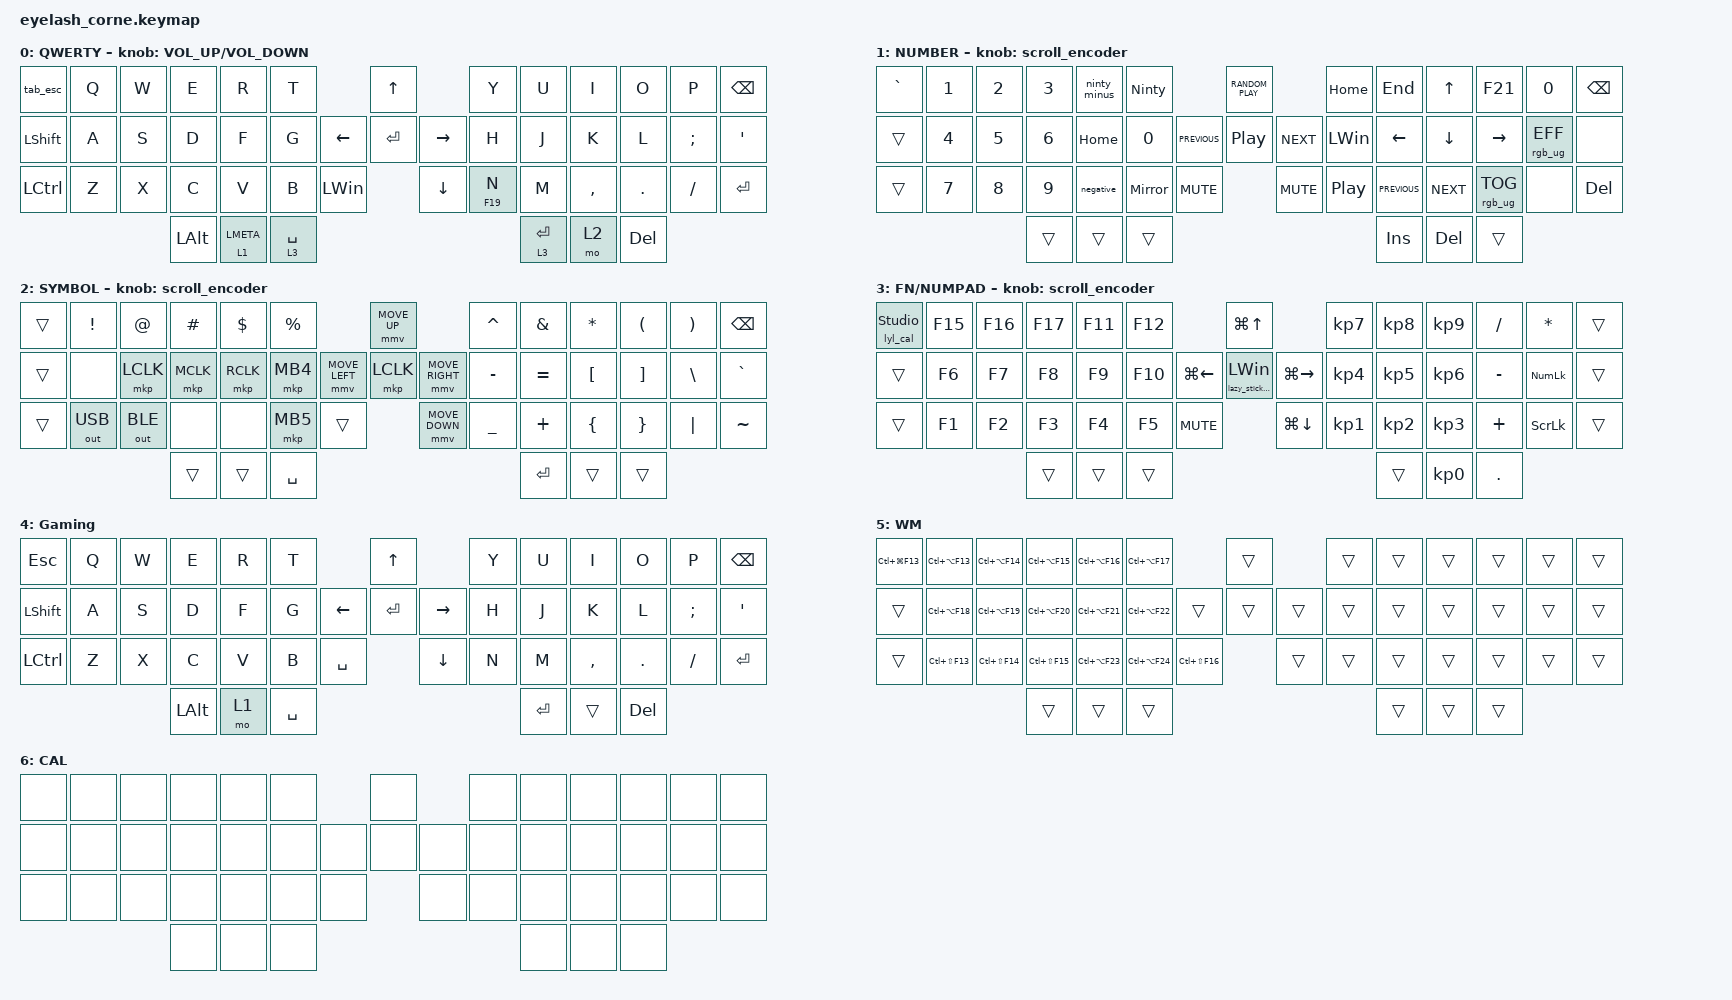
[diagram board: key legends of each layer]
#define ZMK_POINTING_DEFAULT_MOVE_VAL 1200  // 600
#define ZMK_POINTING_DEFAULT_SCRL_VAL 25   // 10

#include <input/processors.dtsi>
#include <zephyr/dt-bindings/input/input-event-codes.h>
#include <behaviors.dtsi>
#include <dt-bindings/zmk/keys.h>
#include <dt-bindings/zmk/outputs.h>
#include <dt-bindings/zmk/pointing.h>
#include <dt-bindings/zmk/rgb.h>

// Binding that starts layer-light calibration.
#define LYL_CALIBRATE 0 0xF0000000

&mmv_input_listener { input-processors = <&zip_xy_scaler 2 1>; };

&msc_input_listener { input-processors = <&zip_scroll_scaler 2 1>; };

&msc {
    acceleration-exponent = <1>;      // 0
    time-to-max-speed-ms = <100>;       // 300
    delay-ms = <0>;                   // 0
};

&mmv {
    time-to-max-speed-ms = <500>;
    acceleration-exponent = <1>;
    trigger-period-ms = <16>;
};

/ {
    behaviors {
        // Layer lights: while one of these layers is active, the LEDs under
        // the keys that do something on it light up in its color. Layers are
        // counted from 0 in the order they appear below. Code: src/layer_lights.c
        lyl: lyl {
            compatible = "zmk,behavior-layer-lights";
            #binding-cells = <2>;
            layers = <1 2 3 5>;                            // NUMBER SYMBOL FN WM
            colors = <0xff7a33 0x5b47d6 0x8bd450 0xff2bd6>; // orange purple green pink
            calibration-layer = <6>;
        };

        // Top-left key on the FN layer: tap for Studio unlock, hold it for a
        // full 1.5 seconds to start layer-light calibration.
        cal_hold: cal_hold {
            compatible = "zmk,behavior-hold-tap";
            #binding-cells = <2>;
            flavor = "tap-preferred";
            tapping-term-ms = <1500>;
            bindings = <&lyl_cal>, <&studio_unlock>;
        };

        // Left thumb layer keys (Win/NUMBER and Space/FN). "balanced" means: if
        // you press and release another key while the thumb is down, it counts
        // as holding the layer, however quick you are. The stock &lt waited a
        // full 200 ms, so fast shortcuts came out as a Win or Space tap.
        // require-prior-idle-ms keeps fast typing safe: right after another
        // key, the thumb always taps. quick-tap-ms lets you tap then hold to
        // repeat a space.
        lt_thumb: lt_thumb {
            compatible = "zmk,behavior-hold-tap";
            #binding-cells = <2>;
            flavor = "balanced";
            tapping-term-ms = <200>;
            quick-tap-ms = <175>;
            require-prior-idle-ms = <125>;
            bindings = <&mo>, <&kp>;
        };

        // Win/NUMBER thumb: counts as holding the layer the moment any other
        // key goes down, however fast and in whatever order you let go, so
        // muscle-memory shortcuts like -90 never send a stray Win. Tapped on
        // its own it is still Win.
        lt_win: lt_win {
            compatible = "zmk,behavior-hold-tap";
            #binding-cells = <2>;
            flavor = "hold-preferred";
            tapping-term-ms = <200>;
            bindings = <&mo>, <&kp>;
        };

        // N: tap for n, hold for ñ. An English layout has no key for ñ, so
        // holding N sends F19 and AutoHotkey (CombinedScript.ahk) types the ñ
        // (Ñ with Shift). "tap-preferred": it only counts as held once you keep
        // it down past tapping-term, so fast typing (dinner, running) never
        // misfires. quick-tap-ms: tap then hold N to repeat n as usual.
        n_tilde: n_tilde {
            compatible = "zmk,behavior-hold-tap";
            #binding-cells = <2>;
            display-name = "N / hold for ñ";
            flavor = "tap-preferred";
            tapping-term-ms = <250>;
            quick-tap-ms = <200>;
            bindings = <&kp>, <&kp>;
        };

        T_Y: td0 {
            compatible = "zmk,behavior-tap-dance";
            display-name = "Shift/Caps Lock Tap Dance";
            #binding-cells = <0>;
            bindings = <&kp T>, <&kp Y>;
        };

        tab_esc: tab_esc {
            compatible = "zmk,behavior-tap-dance";
            display-name = "Shift/Caps Lock Tap Dance";
            #binding-cells = <0>;
            bindings = <&kp TAB>, <&kp ESCAPE>;

            label = "TAB_ESC";
        };

        lazy_stickykey: lazy_stickykey {
            compatible = "zmk,behavior-sticky-key";
            label = "LAZY_STICKYKEY";
            bindings = <&kp>;
            #binding-cells = <1>;
            lazy;
            release-after-ms = <100>;
        };
    };

    rgb_encoder: rgb_encoder {
        compatible = "zmk,behavior-sensor-rotate";
        #sensor-binding-cells = <0>;
        bindings = <&rgb_ug RGB_BRI>, <&rgb_ug RGB_BRD>;
    };

    scroll_encoder: scroll_encoder {
        compatible = "zmk,behavior-sensor-rotate";
        #sensor-binding-cells = <0>;
        bindings = <&msc SCRL_DOWN>, <&msc SCRL_UP>;

        tap-ms = <100>;
    };

    combos {
        compatible = "zmk,combos";

        Backspace {
            bindings = <&kp BACKSPACE>;
            key-positions = <4 5 44>;
        };

        Search {
            bindings = <&kp F3>;
            key-positions = <17 18 44>;
        };

        assetbrowserclear {
            bindings = <&assetbrowser_clear>;
            key-positions = <32 33 44>;
        };

        gaming {
            bindings = <&tog 4>;
            key-positions = <4 5 7 8>;
        };

        winkey {
            bindings = <&kp LEFT_WIN>;
            key-positions = <32 44 43>;
        };

        tabcombo {
            bindings = <&kp LA(TAB)>;
            key-positions = <29 30>;
        };

        // Ctrl+Alt+Delete: Ctrl and Alt are no longer part of this combo, because
        // keys in a combo get held back for a moment, which made Ctrl and Alt
        // shortcuts finicky. Press Tab, Q and Backspace together instead, or
        // hold Ctrl and Alt and press the Del thumb key on the right.
        taskmanager {
            bindings = <&kp LC(LA(DELETE))>;
            key-positions = <0 1 12>;
        };
    };

    macros {
        lyl_cal: lyl_cal {
            compatible = "zmk,behavior-macro";
            #binding-cells = <0>;
            bindings = <&lyl LYL_CALIBRATE>;
        };

        Ninty: Ninty {
            compatible = "zmk,behavior-macro";
            #binding-cells = <0>;
            bindings = <&none &kp N9 &kp N0>;
            label = "NINTY";
        };

        ninty_minus: ninty_minus {
            compatible = "zmk,behavior-macro";
            #binding-cells = <0>;
            bindings = <&none &kp MINUS &kp N9 &kp N0>;
            label = "NINTY_MINUS";
        };

        Mirror: Mirror {
            compatible = "zmk,behavior-macro";
            #binding-cells = <0>;
            bindings = <&kp LC(M)>;
            label = "MIRROR";
        };

        negative: negative {
            compatible = "zmk,behavior-macro";
            #binding-cells = <0>;
            bindings = <&kp END &kp STAR &kp MINUS &kp N1 &kp ENTER>;
            label = "NEGATIVE";
        };

        assetbrowser_clear: assetbrowser_clear {
            compatible = "zmk,behavior-macro";
            #binding-cells = <0>;
            bindings = <&kp LC(F) &kp BACKSPACE>;
            label = "ASSETBROWSER_CLEAR";
        };

        winup: winup {
            compatible = "zmk,behavior-macro";
            #binding-cells = <0>;
            bindings = <&kp LEFT_WIN &kp UP_ARROW>, <&macro_pause_for_release>;

            label = "WINUP";
        };

        winleft: winleft {
            compatible = "zmk,behavior-macro";
            #binding-cells = <0>;
            bindings = <&kp LEFT_WIN &kp LEFT_ARROW>;
            label = "WINLEFT";
        };
    };

    // Holding the Win thumb key (layer 1) and the Space thumb key (layer 3)
    // together turns on the WM layer (layer 5).
    conditional_layers {
        compatible = "zmk,conditional-layers";

        wm_layer {
            if-layers = <1 3>;
            then-layer = <5>;
        };
    };

    keymap {
        compatible = "zmk,keymap";

        default_layer {
            display-name = "QWERTY";
            bindings = <
&tab_esc        &kp Q  &kp W  &kp E         &kp R        &kp T                                  &kp UP                &kp Y        &kp U  &kp I      &kp O    &kp P     &kp BSPC
&kp LEFT_SHIFT  &kp A  &kp S  &kp D         &kp F        &kp G                        &kp LEFT  &kp ENTER  &kp RIGHT  &kp H        &kp J  &kp K      &kp L    &kp SEMI  &kp SQT
&kp LCTRL       &kp Z  &kp X  &kp C         &kp V        &kp B        &kp LEFT_WIN              &kp DOWN              &n_tilde F19 N  &kp M  &kp COMMA  &kp DOT  &kp FSLH  &kp ENTER
                              &kp LEFT_ALT  &lt_win 1 LMETA  &lt_thumb 3 SPACE                                                  &lt 3 ENTER  &mo 2  &kp DEL
            >;

            sensor-bindings = <&inc_dec_kp C_VOLUME_UP C_VOLUME_DOWN>;
        };

        lower_layer {
            display-name = "NUMBER";
            bindings = <
&kp GRAVE  &kp N1        &kp N2  &kp N3        &ninty_minus  &Ninty                                 &kp C_RANDOM_PLAY              &kp HOME          &kp END         &kp UP_ARROW    &kp F21          &kp N0           &kp BSPC
&trans     &kp NUMBER_4  &kp N5  &kp NUMBER_6  &kp HOME      &kp N0                 &kp C_PREVIOUS  &kp C_PLAY_PAUSE   &kp C_NEXT  &kp LEFT_WIN      &kp LEFT        &kp DOWN_ARROW  &kp RIGHT        &rgb_ug RGB_EFF  &none
&trans     &kp N7        &kp N8  &kp N9        &negative     &Mirror  &kp C_MUTE                    &kp K_MUTE                     &kp C_PLAY_PAUSE  &kp K_PREVIOUS  &kp K_NEXT      &rgb_ug RGB_TOG  &none            &kp DEL
                                 &trans        &trans        &trans                                                                &kp INS           &kp DEL         &trans
            >;

            sensor-bindings = <&scroll_encoder>;
        };

        raise_layer {
            display-name = "SYMBOL";
            bindings = <
&trans  &kp EXCL      &kp AT        &kp HASH   &kp DLLR   &kp PRCNT                            &mmv MOVE_UP                     &kp CARET  &kp AMPS   &kp ASTRK  &kp LPAR  &kp RPAR  &kp BSPC
&trans  &none         &mkp LCLK     &mkp MCLK  &mkp RCLK  &mkp MB4             &mmv MOVE_LEFT  &mkp LCLK       &mmv MOVE_RIGHT  &kp MINUS  &kp EQUAL  &kp LBKT   &kp RBKT  &kp BSLH  &kp GRAVE
&trans  &out OUT_USB  &out OUT_BLE  &none      &none      &mkp MB5   &trans                    &mmv MOVE_DOWN                   &kp UNDER  &kp PLUS   &kp LBRC   &kp RBRC  &kp PIPE  &kp TILDE
                                    &trans     &trans     &kp SPACE                                                             &kp RET    &trans     &trans
            >;

            sensor-bindings = <&scroll_encoder>;
        };

        layer_3 {
            display-name = "FN/NUMPAD";
            bindings = <
&cal_hold 0 0      &kp F15  &kp F16  &kp F17  &kp F11  &kp F12                                    &kp LG(UP_ARROW)                               &kp KP_NUMBER_7  &kp KP_NUMBER_8  &kp KP_NUMBER_9  &kp SLASH  &kp ASTERISK    &trans
&trans          &kp F6   &kp F7   &kp F8   &kp F9   &kp F10                &kp LG(LEFT_ARROW)  &lazy_stickykey LEFT_WIN  &kp LG(RIGHT_ARROW)  &kp KP_NUMBER_4  &kp KP_NUMBER_5  &kp KP_NUMBER_6  &kp MINUS  &kp KP_NUMLOCK  &trans
&trans          &kp F1   &kp F2   &kp F3   &kp F4   &kp F5   &kp C_MUTE                        &kp LG(DOWN_ARROW)                             &kp KP_NUMBER_1  &kp KP_NUMBER_2  &kp KP_NUMBER_3  &kp PLUS   &kp SCROLLLOCK  &trans
                                  &trans   &trans   &trans                                                                                    &trans           &kp KP_NUMBER_0  &kp PERIOD
            >;

            sensor-bindings = <&scroll_encoder>;
        };

        Gaming {
            bindings = <
&kp ESCAPE  &kp Q  &kp W  &kp E     &kp R  &kp T                             &kp UP               &kp Y    &kp U   &kp I      &kp O    &kp P     &kp BSPC
&kp LSHFT   &kp A  &kp S  &kp D     &kp F  &kp G                   &kp LEFT  &kp RET   &kp RIGHT  &kp H    &kp J   &kp K      &kp L    &kp SEMI  &kp SQT
&kp LCTRL   &kp Z  &kp X  &kp C     &kp V  &kp B      &kp SPACE              &kp DOWN             &kp N    &kp M   &kp COMMA  &kp DOT  &kp FSLH  &kp RET
                          &kp LALT  &mo 1  &kp SPACE                                              &kp RET  &trans  &kp DEL
            >;
        };

        // Window manager layer for GlazeWM. Hold both left thumb keys (Win and
        // Space) to reach it; see conditional_layers above. It sends the
        // Ctrl+Alt+F13-F24 style shortcuts that the GlazeWM config listens for.
        // Hold Shift as well to send the focused window instead of just going.
        //   Tab        workspace 9
        //   Q W E R T  workspaces 1 4 2 3 8
        //   A S D      workspaces 5 6 7
        //   F G        focus the left / right monitor
        //   V B        send the window to the left / right monitor
        //   Z X C      tiling direction, float, fullscreen
        //   key after B  close the window
        layer_5 {
            display-name = "WM";
            bindings = <
&kp LC(LG(F13))  &kp LC(LA(F13))  &kp LC(LA(F14))  &kp LC(LA(F15))  &kp LC(LA(F16))  &kp LC(LA(F17))                             &trans          &trans  &trans  &trans  &trans  &trans  &trans
&trans           &kp LC(LA(F18))  &kp LC(LA(F19))  &kp LC(LA(F20))  &kp LC(LA(F21))  &kp LC(LA(F22))                     &trans  &trans  &trans  &trans  &trans  &trans  &trans  &trans  &trans
&trans           &kp LC(LS(F13))  &kp LC(LS(F14))  &kp LC(LS(F15))  &kp LC(LA(F23))  &kp LC(LA(F24))  &kp LC(LS(F16))            &trans          &trans  &trans  &trans  &trans  &trans  &trans
                                                   &trans           &trans           &trans                                                      &trans  &trans  &trans
            >;
        };
        // Parked here while the layer lights are being calibrated, so that
        // pressing every key types nothing. Leave all keys as &none.
        layer_6 {
            display-name = "CAL";
            bindings = <
&none  &none  &none  &none  &none  &none                 &none         &none  &none  &none  &none  &none  &none
&none  &none  &none  &none  &none  &none          &none  &none  &none  &none  &none  &none  &none  &none  &none
&none  &none  &none  &none  &none  &none  &none          &none         &none  &none  &none  &none  &none  &none
                     &none  &none  &none                               &none  &none  &none
            >;
        };
    };
};
